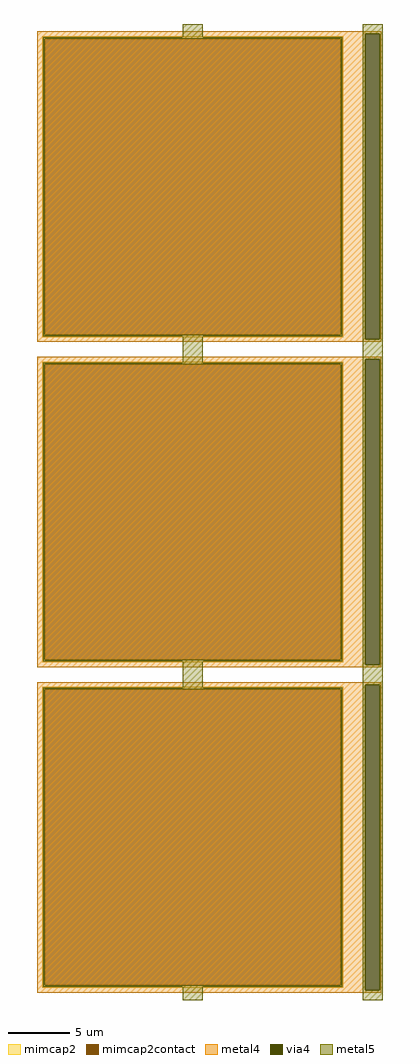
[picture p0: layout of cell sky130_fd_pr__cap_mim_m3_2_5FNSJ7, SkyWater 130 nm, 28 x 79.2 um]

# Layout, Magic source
magic
tech sky130A
magscale 1 2
<< metal4 >>
rect -2789 7759 2789 7800
rect -2789 2801 2533 7759
rect 2769 2801 2789 7759
rect -2789 2760 2789 2801
rect -2789 2479 2789 2520
rect -2789 -2479 2533 2479
rect 2769 -2479 2789 2479
rect -2789 -2520 2789 -2479
rect -2789 -2801 2789 -2760
rect -2789 -7759 2533 -2801
rect 2769 -7759 2789 -2801
rect -2789 -7800 2789 -7759
<< via4 >>
rect 2533 2801 2769 7759
rect 2533 -2479 2769 2479
rect 2533 -7759 2769 -2801
<< mimcap2 >>
rect -2709 7680 2171 7720
rect -2709 2880 -2669 7680
rect 2131 2880 2171 7680
rect -2709 2840 2171 2880
rect -2709 2400 2171 2440
rect -2709 -2400 -2669 2400
rect 2131 -2400 2171 2400
rect -2709 -2440 2171 -2400
rect -2709 -2880 2171 -2840
rect -2709 -7680 -2669 -2880
rect 2131 -7680 2171 -2880
rect -2709 -7720 2171 -7680
<< mimcap2contact >>
rect -2669 2880 2131 7680
rect -2669 -2400 2131 2400
rect -2669 -7680 2131 -2880
<< metal5 >>
rect -429 7704 -109 7920
rect 2491 7759 2811 7920
rect -2693 7680 2155 7704
rect -2693 2880 -2669 7680
rect 2131 2880 2155 7680
rect -2693 2856 2155 2880
rect -429 2424 -109 2856
rect 2491 2801 2533 7759
rect 2769 2801 2811 7759
rect 2491 2479 2811 2801
rect -2693 2400 2155 2424
rect -2693 -2400 -2669 2400
rect 2131 -2400 2155 2400
rect -2693 -2424 2155 -2400
rect -429 -2856 -109 -2424
rect 2491 -2479 2533 2479
rect 2769 -2479 2811 2479
rect 2491 -2801 2811 -2479
rect -2693 -2880 2155 -2856
rect -2693 -7680 -2669 -2880
rect 2131 -7680 2155 -2880
rect -2693 -7704 2155 -7680
rect -429 -7920 -109 -7704
rect 2491 -7759 2533 -2801
rect 2769 -7759 2811 -2801
rect 2491 -7920 2811 -7759
<< properties >>
string FIXED_BBOX -2789 2760 2251 7800
string gencell sky130_fd_pr__cap_mim_m3_2
string library sky130
string parameters w 24.4 l 24.4 val 1.209k carea 2.00 cperi 0.19 nx 1 ny 3 dummy 0 square 0 lmin 2.00 wmin 2.00 lmax 30.0 wmax 30.0 dc 0 bconnect 1 tconnect 1 ccov 100
<< end >>
